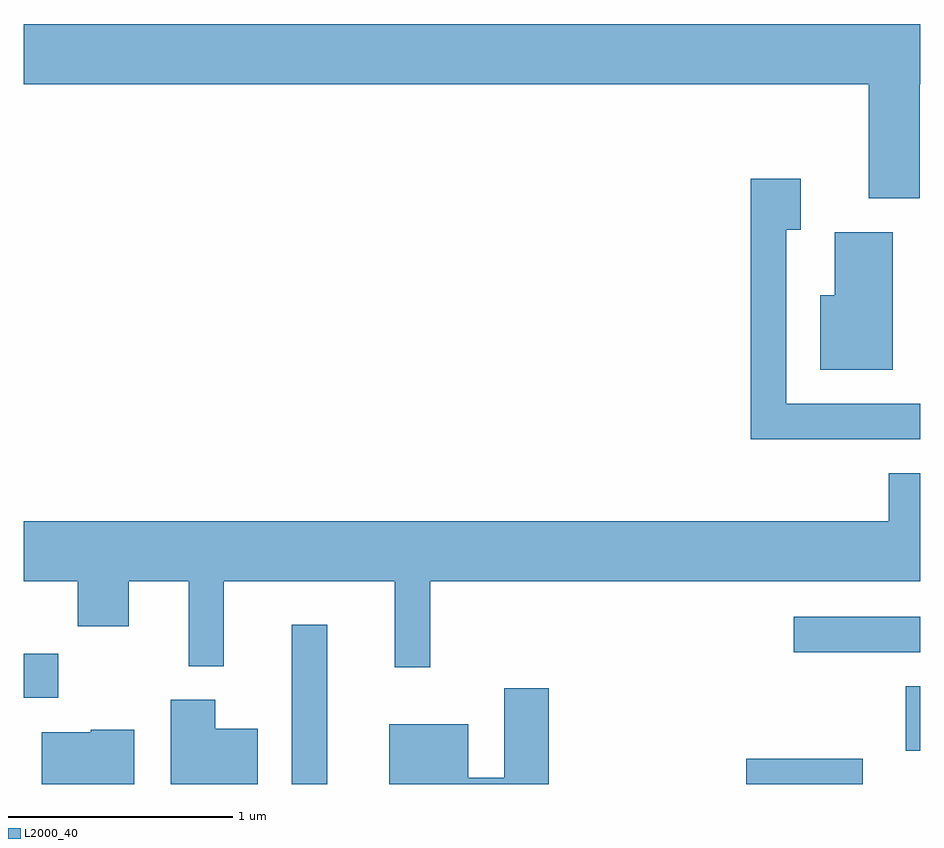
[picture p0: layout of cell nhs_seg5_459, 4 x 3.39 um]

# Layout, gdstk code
import gdstk
lib = gdstk.Library(unit=1e-6, precision=1e-09)
def R(c, l, rs):  # rectangles x0, y0, x1, y1
    for r in rs: c.add(gdstk.rectangle(r[:2], r[2:], *l))
def P(c, l, *ps):  # polygons
    for p in ps: c.add(gdstk.Polygon(p, *l))
L2000_40 = (2000, 40)

nhs_seg5_459 = lib.new_cell('nhs_seg5_459')
R(nhs_seg5_459, L2000_40, [(198.806,1498.072,198.964,1498.783), (200.836,1498.072,201.354,1498.184), (201.546,1498.221,201.611,1498.509), (197.611,1498.456,197.764,1498.654), (201.048,1498.661,201.611,1498.819)])
P(nhs_seg5_459, L2000_40, [(201.609,1501.196),(201.611,1501.196),(201.611,1501.464),(197.611,1501.464),(197.611,1501.196),(201.381,1501.196),(201.381,1500.686),(201.609,1500.686)],
  [(201.611,1499.769),(201.014,1499.769),(201.014,1500.546),(201.079,1500.546),(201.079,1500.774),(200.856,1500.774),(200.856,1499.611),(201.611,1499.611)],
  [(201.489,1500.534),(201.231,1500.534),(201.231,1500.254),(201.166,1500.254),(201.166,1499.921),(201.489,1499.921)],
  [(199.424,1498.976),(201.611,1498.976),(201.611,1499.459),(201.471,1499.459),(201.471,1499.244),(197.611,1499.244),(197.611,1498.976),(197.851,1498.976),(197.851,1498.776),(198.079,1498.776),(198.079,1498.976),(198.346,1498.976),(198.346,1498.598),(198.504,1498.598),(198.504,1498.976),(199.266,1498.976),(199.266,1498.593),(199.424,1498.593)],
  [(199.954,1498.499),(199.756,1498.499),(199.756,1498.099),(199.594,1498.099),(199.594,1498.339),(199.241,1498.339),(199.241,1498.072),(199.954,1498.072)],
  [(198.654,1498.319),(198.464,1498.319),(198.464,1498.449),(198.266,1498.449),(198.266,1498.072),(198.654,1498.072)],
  [(198.104,1498.314),(197.91,1498.314),(197.91,1498.304),(197.691,1498.304),(197.691,1498.072),(198.104,1498.072)])

lib.write_gds('nhs_seg5_459.gds')
